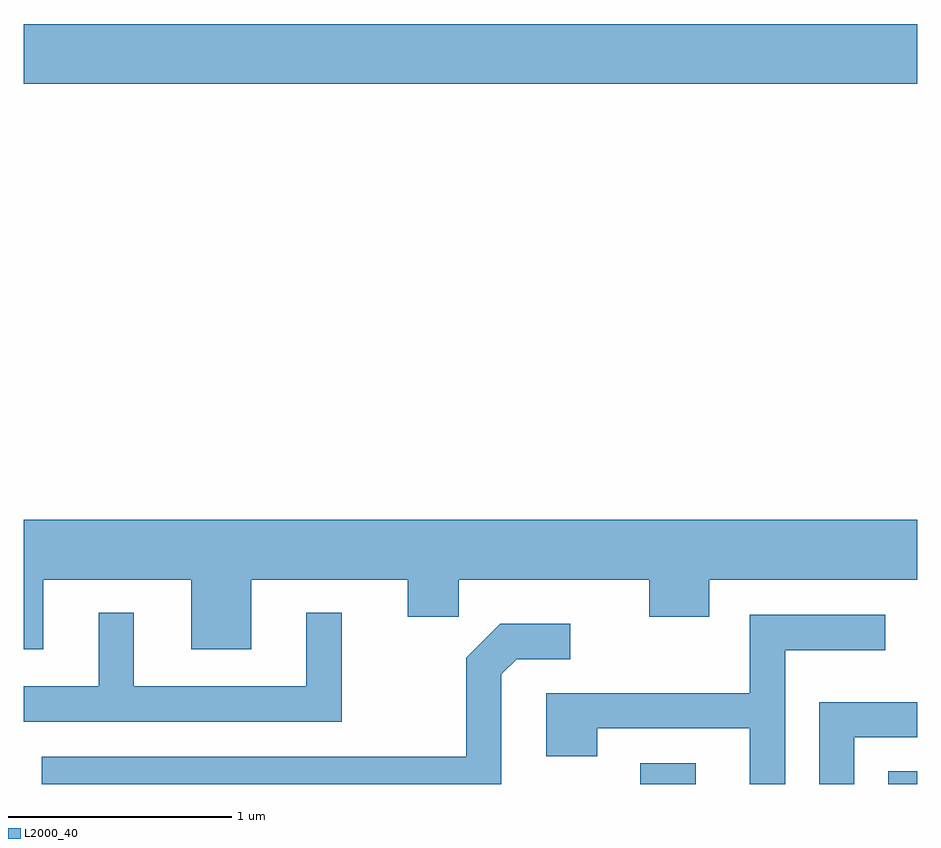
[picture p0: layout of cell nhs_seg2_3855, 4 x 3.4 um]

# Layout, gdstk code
import gdstk
lib = gdstk.Library(unit=1e-6, precision=1e-09)
def R(c, l, rs):  # rectangles x0, y0, x1, y1
    for r in rs: c.add(gdstk.rectangle(r[:2], r[2:], *l))
def P(c, l, *ps):  # polygons
    for p in ps: c.add(gdstk.Polygon(p, *l))
L2000_40 = (2000, 40)

nhs_seg2_3855 = lib.new_cell('nhs_seg2_3855')
R(nhs_seg2_3855, L2000_40, [(300.371,1091.802,300.619,1091.894), (301.481,1091.802,301.611,1091.859), (297.611,1094.936,301.611,1095.204)])
P(nhs_seg2_3855, L2000_40, [(297.699,1092.716),(298.361,1092.716),(298.361,1092.406),(298.629,1092.406),(298.629,1092.716),(299.331,1092.716),(299.331,1092.551),(299.559,1092.551),(299.559,1092.716),(300.411,1092.716),(300.411,1092.551),(300.679,1092.551),(300.679,1092.716),(301.611,1092.716),(301.611,1092.984),(297.611,1092.984),(297.611,1092.406),(297.699,1092.406)],
  [(299.034,1092.568),(298.876,1092.568),(298.876,1092.239),(298.104,1092.239),(298.104,1092.568),(297.946,1092.568),(297.946,1092.239),(297.611,1092.239),(297.611,1092.081),(299.034,1092.081)],
  [(301.019,1092.401),(301.468,1092.401),(301.468,1092.559),(300.861,1092.559),(300.861,1092.209),(299.951,1092.209),(299.951,1091.926),(300.179,1091.926),(300.179,1092.051),(300.861,1092.051),(300.861,1091.802),(301.019,1091.802)],
  [(299.749,1092.294),(299.817,1092.361),(300.058,1092.361),(300.058,1092.519),(299.744,1092.519),(299.591,1092.367),(299.591,1091.924),(297.691,1091.924),(297.691,1091.802),(299.749,1091.802)],
  [(301.329,1092.011),(301.611,1092.011),(301.611,1092.169),(301.171,1092.169),(301.171,1091.802),(301.329,1091.802)])

lib.write_gds('nhs_seg2_3855.gds')
